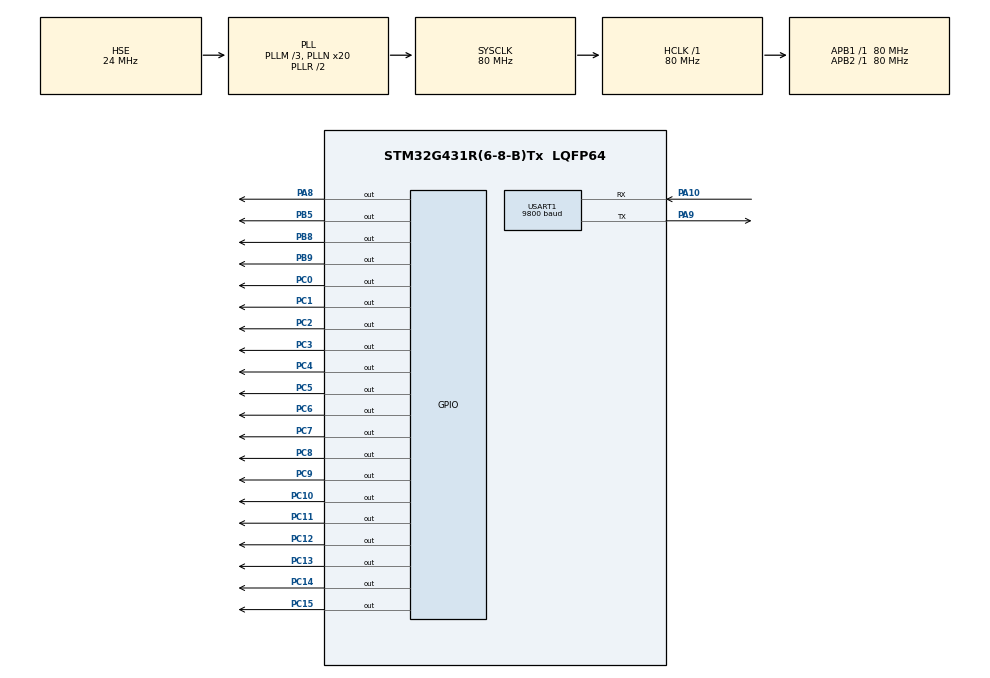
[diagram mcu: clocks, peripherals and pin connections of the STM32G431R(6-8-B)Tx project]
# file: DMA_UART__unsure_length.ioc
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Dma.Request0=USART1_RX
Dma.USART1_RX.0.Direction=DMA_PERIPH_TO_MEMORY
Dma.USART1_RX.0.EventEnable=DISABLE
Dma.USART1_RX.0.Instance=DMA1_Channel1
Dma.USART1_RX.0.MemDataAlignment=DMA_MDATAALIGN_BYTE
Dma.USART1_RX.0.MemInc=DMA_MINC_ENABLE
Dma.USART1_RX.0.Mode=DMA_NORMAL
Dma.USART1_RX.0.PeriphDataAlignment=DMA_PDATAALIGN_BYTE
Dma.USART1_RX.0.PeriphInc=DMA_PINC_DISABLE
Dma.USART1_RX.0.Polarity=HAL_DMAMUX_REQ_GEN_RISING
Dma.USART1_RX.0.Priority=DMA_PRIORITY_LOW
Dma.USART1_RX.0.RequestNumber=1
Dma.USART1_RX.0.SignalID=NONE
Dma.USART1_RX.0.SyncEnable=DISABLE
Dma.USART1_RX.0.SyncPolarity=HAL_DMAMUX_SYNC_NO_EVENT
Dma.USART1_RX.0.SyncRequestNumber=1
Dma.USART1_RX.0.SyncSignalID=NONE
Mcu.Family=STM32G4
Mcu.Name=STM32G431R(6-8-B)Tx
Mcu.Package=LQFP64
NVIC.DMA1_Channel1_IRQn=true\:0\:0\:false\:false\:true\:false\:true\:true
NVIC.PriorityGroup=NVIC_PRIORITYGROUP_4
NVIC.USART1_IRQn=true\:0\:0\:false\:false\:true\:true\:true\:true
PA10.Mode=Asynchronous
PA10.Signal=USART1_RX
PA13.Mode=Serial_Wire
PA13.Signal=SYS_JTMS-SWDIO
PA14.Mode=Serial_Wire
PA14.Signal=SYS_JTCK-SWCLK
PA8.Signal=GPIO_Output
PA9.Mode=Asynchronous
PA9.Signal=USART1_TX
PB5.Signal=GPIO_Output
PB8-BOOT0.Signal=GPIO_Output
PB9.Signal=GPIO_Output
PC0.Signal=GPIO_Output
PC1.Signal=GPIO_Output
PC10.Signal=GPIO_Output
PC11.Signal=GPIO_Output
PC12.Signal=GPIO_Output
PC13.Signal=GPIO_Output
PC14-OSC32_IN.Signal=GPIO_Output
PC15-OSC32_OUT.Signal=GPIO_Output
PC2.Signal=GPIO_Output
PC3.Signal=GPIO_Output
PC4.Signal=GPIO_Output
PC5.Signal=GPIO_Output
PC6.Signal=GPIO_Output
PC7.Signal=GPIO_Output
PC8.Signal=GPIO_Output
PC9.Signal=GPIO_Output
PF0-OSC_IN.Mode=HSE-External-Oscillator
PF0-OSC_IN.Signal=RCC_OSC_IN
PF1-OSC_OUT.Mode=HSE-External-Oscillator
PF1-OSC_OUT.Signal=RCC_OSC_OUT
ProjectManager.HeapSize=0x200
ProjectManager.StackSize=0x400
ProjectManager.TargetToolchain=MDK-ARM V5.32
RCC.ADC12Freq_Value=80000000
RCC.AHBFreq_Value=80000000
RCC.APB1Freq_Value=80000000
RCC.APB1TimFreq_Value=80000000
RCC.APB2Freq_Value=80000000
RCC.APB2TimFreq_Value=80000000
RCC.CortexFreq_Value=80000000
RCC.EXTERNAL_CLOCK_VALUE=12288000
RCC.HCLKFreq_Value=80000000
RCC.HSE_VALUE=24000000
RCC.HSI48_VALUE=48000000
RCC.HSI_VALUE=16000000
RCC.LSE_VALUE=32768
RCC.PLLM=RCC_PLLM_DIV3
RCC.PLLN=20
RCC.PLLSourceVirtual=RCC_PLLSOURCE_HSE
RCC.SYSCLKFreq_VALUE=80000000
RCC.SYSCLKSource=RCC_SYSCLKSOURCE_PLLCLK
RCC.USBFreq_Value=80000000
RCC.VCOOutputFreq_Value=160000000
USART1.BaudRate=9800
USART1.VirtualMode-Asynchronous=VM_ASYNC
VP_SYS_VS_DBSignals.Mode=DisableDeadBatterySignals
board=custom

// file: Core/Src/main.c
/* USER CODE BEGIN Header */
/**
  ******************************************************************************
  * @file           : main.c
  * @brief          : Main program body
  ******************************************************************************
  * @attention
  *
  * Copyright (c) 2025 STMicroelectronics.
  * All rights reserved.
  *
  * This software is licensed under terms that can be found in the LICENSE file
  * in the root directory of this software component.
  * If no LICENSE file comes with this software, it is provided AS-IS.
  *
  ******************************************************************************
  */
/* USER CODE END Header */
#include "main.h"
#include "dma.h"
#include "usart.h"
#include "gpio.h"

/* USER CODE BEGIN PTD */
#define RX_BUF_SIZE 20
typedef struct
{
	uint8_t rx[RX_BUF_SIZE];
	uint16_t rx_length;
	uint8_t rx_ok;
}UART_RxTypedef;
UART_RxTypedef UART1_Rx={0};
typedef struct
{
	float x;
	float y;
	uint8_t valid;
}ProtocolData;
ProtocolData data={0};
/* USER CODE END PTD */

/* USER CODE BEGIN PV */
uint8_t rx[RX_BUF_SIZE];
/* USER CODE END PV */

void SystemClock_Config(void);

/* USER CODE BEGIN 0 */
void HAL_UART_IdleCallback(UART_HandleTypeDef *huart)
{
    if(huart->Instance == USART1)
	 {
        HAL_UART_DMAStop(huart);
        UART1_Rx.rx_length=RX_BUF_SIZE-__HAL_DMA_GET_COUNTER(huart->hdmarx);
        UART1_Rx.rx_ok=1;
        HAL_UART_Receive_DMA(huart,UART1_Rx.rx,RX_BUF_SIZE);
        __HAL_UART_CLEAR_IDLEFLAG(huart);
    }
}
ProtocolData ParseProtocol(uint8_t *data,int length)
{
	ProtocolData result={0};
	result.valid=0;
	uint8_t str[RX_BUF_SIZE+1]={0};
	memcpy(str,data,length);
	str[length]='\0';
	if(str[0]!='#') return result;
	char *x_start=strstr((char *)str,"x=");
	if(x_start)
	{
		x_start+=2;
		result.x=atof(x_start);
	}
    char *y_start=strstr((char *)str,"y=");
    if(y_start)
    {
        y_start += 2;
        result.y=atof(y_start);
    }
    if(x_start||y_start)
    {
        result.valid = 1;
    }
    return result;
}
void ProcessReceivedData(void)
{
    if(UART1_Rx.rx_ok)
    {
        data = ParseProtocol(UART1_Rx.rx, UART1_Rx.rx_length);
        if(data.valid)
        {
            char msg[64];
            sprintf(msg, "Got: x=%.2f, y=%.2f\r\n", data.x, data.y);
            HAL_UART_Transmit(&huart1, (uint8_t*)msg, strlen(msg), 100);
        }
        else
        {
            HAL_UART_Transmit(&huart1, (uint8_t*)"Invalid format\r\n", 16, 100);
        }
        UART1_Rx.rx_ok = 0;
        UART1_Rx.rx_length = 0;
		  memset((char *)UART1_Rx.rx,'\0',sizeof(UART1_Rx.rx));
    }
}
	uint8_t data_text[20]={"xiaolai x=12.34,y=56.78"};
	double num=0;
	char *x_st;
/* USER CODE END 0 */

int main(void)
{

  /* MCU Configuration--------------------------------------------------------*/

  /* Reset of all peripherals, Initializes the Flash interface and the Systick. */
  HAL_Init();

  /* Configure the system clock */
  SystemClock_Config();

  /* Initialize all configured peripherals */
  MX_GPIO_Init();
  MX_DMA_Init();
  MX_USART1_UART_Init();
  /* USER CODE BEGIN 2 */
  LCD_Init();
  LCD_SetBackColor(Black);
  LCD_SetTextColor(White);
  LCD_Clear(Black);
  HAL_UART_Receive_DMA(&huart1,UART1_Rx.rx,RX_BUF_SIZE);
  __HAL_UART_ENABLE_IT(&huart1,UART_IT_IDLE);
  __HAL_UART_CLEAR_IDLEFLAG(&huart1);
	char msg[100];
	sprintf(msg, "This is a test of UART_DMA and unsure length");
	HAL_UART_Transmit(&huart1,(uint8_t*)msg,strlen(msg),HAL_MAX_DELAY);
  /* USER CODE END 2 */

  /* Infinite loop */
  /* USER CODE BEGIN WHILE */
	x_st=strstr((char *)data_text,"x=")+2;
	num=atof(x_st);
  while (1)
  {
	  ProcessReceivedData();
    /* USER CODE END WHILE */

  }
}

void SystemClock_Config(void)
{
  RCC_OscInitTypeDef RCC_OscInitStruct = {0};
  RCC_ClkInitTypeDef RCC_ClkInitStruct = {0};

  /** Configure the main internal regulator output voltage
  */
  HAL_PWREx_ControlVoltageScaling(PWR_REGULATOR_VOLTAGE_SCALE1);

  /** Initializes the RCC Oscillators according to the specified parameters
  * in the RCC_OscInitTypeDef structure.
  */
  RCC_OscInitStruct.OscillatorType = RCC_OSCILLATORTYPE_HSE;
  RCC_OscInitStruct.HSEState = RCC_HSE_ON;
  RCC_OscInitStruct.PLL.PLLState = RCC_PLL_ON;
  RCC_OscInitStruct.PLL.PLLSource = RCC_PLLSOURCE_HSE;
  RCC_OscInitStruct.PLL.PLLM = RCC_PLLM_DIV3;
  RCC_OscInitStruct.PLL.PLLN = 20;
  RCC_OscInitStruct.PLL.PLLP = RCC_PLLP_DIV2;
  RCC_OscInitStruct.PLL.PLLQ = RCC_PLLQ_DIV2;
  RCC_OscInitStruct.PLL.PLLR = RCC_PLLR_DIV2;
  if (HAL_RCC_OscConfig(&RCC_OscInitStruct) != HAL_OK)
  {
    Error_Handler();
  }

  /** Initializes the CPU, AHB and APB buses clocks
  */
  RCC_ClkInitStruct.ClockType = RCC_CLOCKTYPE_HCLK|RCC_CLOCKTYPE_SYSCLK
                              |RCC_CLOCKTYPE_PCLK1|RCC_CLOCKTYPE_PCLK2;
  RCC_ClkInitStruct.SYSCLKSource = RCC_SYSCLKSOURCE_PLLCLK;
  RCC_ClkInitStruct.AHBCLKDivider = RCC_SYSCLK_DIV1;
  RCC_ClkInitStruct.APB1CLKDivider = RCC_HCLK_DIV1;
  RCC_ClkInitStruct.APB2CLKDivider = RCC_HCLK_DIV1;

  if (HAL_RCC_ClockConfig(&RCC_ClkInitStruct, FLASH_LATENCY_2) != HAL_OK)
  {
    Error_Handler();
  }
}

void Error_Handler(void)
{
  __disable_irq();
  while (1)
  {
  }
}
